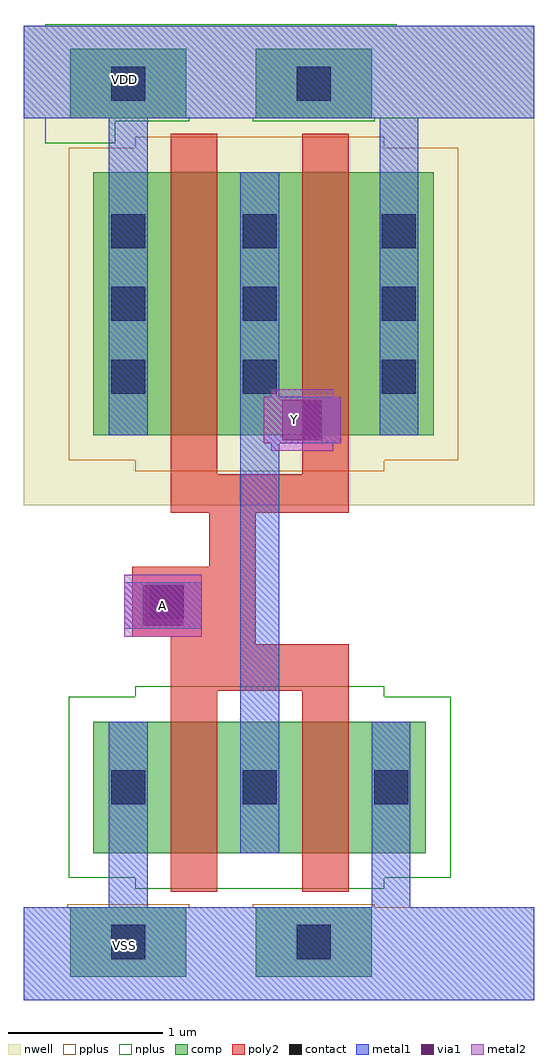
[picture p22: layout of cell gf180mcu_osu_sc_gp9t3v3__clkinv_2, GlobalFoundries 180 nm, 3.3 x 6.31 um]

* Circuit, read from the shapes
.subckt gf180mcu_osu_sc_gp9t3v3__clkinv_2 A VDD VSS Y
XM1 Y A VSS VSS nfet_03v3 w=0.85u l=0.3u m=2
XM2 Y A VDD VDD pfet_03v3 w=1.7u l=0.3u m=2
.ends

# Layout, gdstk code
import gdstk
lib = gdstk.Library(unit=1e-6, precision=1e-09)
def R(c, l, rs):  # rectangles x0, y0, x1, y1
    for r in rs: c.add(gdstk.rectangle(r[:2], r[2:], *l))
def A(c, l, x, y, w, h, nx, ny, dx, dy):  # array of equal rectangles
    R(c, l, [(x+i*dx, y+j*dy, x+i*dx+w, y+j*dy+h) for i in range(nx) for j in range(ny)])
nwell = (21, 0)
comp = (22, 0)
poly2 = (30, 0)
pplus = (31, 0)
nplus = (32, 0)
contact = (33, 0)
metal1 = (34, 0)
via1 = (35, 0)
metal2 = (36, 0)

gf180mcu_osu_sc_gp9t3v3_ = lib.new_cell('gf180mcu_osu_sc_gp9t3v3__clkinv_2')
R(gf180mcu_osu_sc_gp9t3v3_, nwell, [(0,3.2,3.3,6.3)])
R(gf180mcu_osu_sc_gp9t3v3_, comp, [(0.3,0.15,1.05,0.6), (1.5,0.15,2.25,0.6), (0.45,0.95,2.6,1.8), (0.45,3.65,2.65,5.35), (0.3,5.7,1.05,6.15), (1.5,5.7,2.25,6.15)])
R(gf180mcu_osu_sc_gp9t3v3_, poly2, [(0.95,0.7,1.25,2), (1.8,0.7,2.1,2), (0.95,2,2.1,2.3), (0.95,2.3,1.5,2.35), (0.7,2.35,1.5,2.8), (1.2,2.8,1.5,3.15), (0.95,3.15,2.1,3.4), (0.95,3.4,1.25,5.6), (1.8,3.4,2.1,5.6)])
R(gf180mcu_osu_sc_gp9t3v3_, pplus, [(0,0,3.3,0.6), (0.28,0.13,1.07,0.62), (1.48,0.13,2.27,0.62), (0.72,3.42,2.33,3.49), (0.29,3.49,2.81,5.51), (0.72,5.51,2.33,5.58)])
R(gf180mcu_osu_sc_gp9t3v3_, nplus, [(0.72,0.72,2.33,0.79), (0.29,0.79,2.76,1.96), (0.72,1.96,2.33,2.03), (0.14,5.54,0.59,5.68), (0.14,5.68,1.07,5.7), (1.48,5.68,2.27,5.7), (0,5.7,3.3,6.3), (0,5.7,3.3,6.3), (0.14,6.3,2.41,6.31)])
A(gf180mcu_osu_sc_gp9t3v3_, contact, 0.565, 1.265, 0.22, 0.22, 3, 1, 0.85, 0)
A(gf180mcu_osu_sc_gp9t3v3_, contact, 0.565, 3.92, 0.22, 0.22, 1, 3, 0, 0.47)
A(gf180mcu_osu_sc_gp9t3v3_, contact, 1.415, 3.92, 0.22, 0.22, 1, 3, 0, 0.47)
A(gf180mcu_osu_sc_gp9t3v3_, contact, 2.315, 3.92, 0.22, 0.22, 1, 3, 0, 0.47)
R(gf180mcu_osu_sc_gp9t3v3_, contact, [(0.565,0.265,0.785,0.485), (1.765,0.265,1.985,0.485), (0.815,2.465,1.035,2.685), (0.565,5.815,0.785,6.035), (1.765,5.815,1.985,6.035)])
R(gf180mcu_osu_sc_gp9t3v3_, metal1, [(0,0,3.3,0.6), (0.55,0.6,0.8,1.8), (2.25,0.6,2.5,1.8), (1.4,0.95,1.65,3.6), (0.65,2.4,1.15,2.7), (1.4,3.6,2.05,3.9), (0.55,3.65,0.8,5.7), (2.3,3.65,2.55,5.7), (1.4,3.9,1.65,5.35), (0,5.7,3.3,6.3)])
R(gf180mcu_osu_sc_gp9t3v3_, via1, [(0.77,2.42,1.03,2.68), (1.67,3.62,1.93,3.88)])
R(gf180mcu_osu_sc_gp9t3v3_, metal2, [(0.65,2.35,1.15,2.75), (1.6,3.55,2,3.6), (1.55,3.6,2.05,3.9), (1.6,3.9,2,3.95)])
gf180mcu_osu_sc_gp9t3v3_.add(gdstk.Label('VDD', (0.65,5.95), layer=22, texttype=0))
gf180mcu_osu_sc_gp9t3v3_.add(gdstk.Label('VSS', (0.65,0.35), layer=22, texttype=0))
gf180mcu_osu_sc_gp9t3v3_.add(gdstk.Label('A', (0.9,2.55), layer=36, texttype=10))
gf180mcu_osu_sc_gp9t3v3_.add(gdstk.Label('Y', (1.75,3.75), layer=36, texttype=10))

lib.write_gds('gf180mcu_osu_sc_gp9t3v3__clkinv_2.gds')
